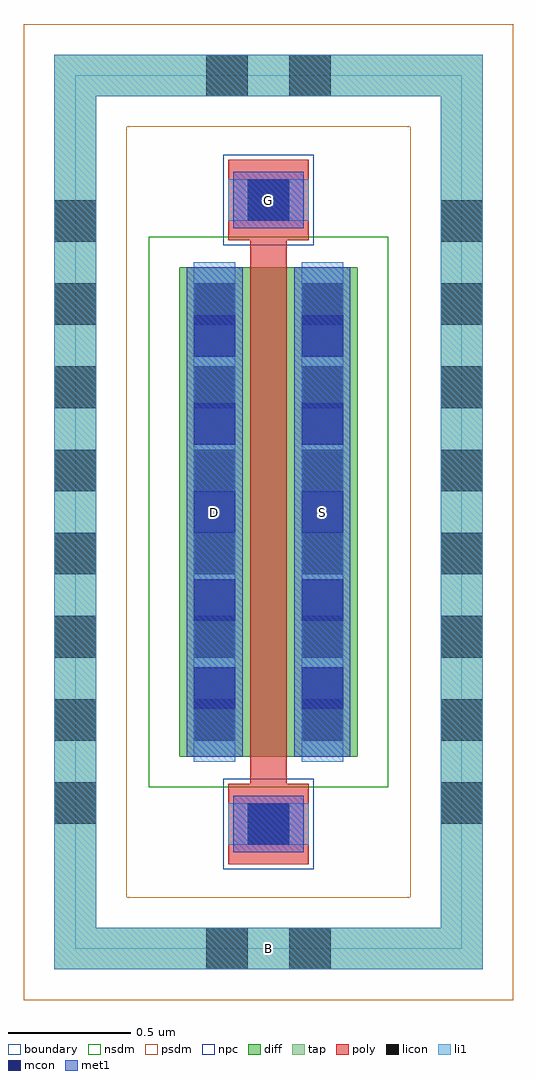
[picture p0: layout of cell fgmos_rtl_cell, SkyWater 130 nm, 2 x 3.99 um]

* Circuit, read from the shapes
.subckt fgmos_rtl_cell B D G S
XM1 S G D B sky130_fd_pr__nfet_01v8 w=2 l=0.15
.ends

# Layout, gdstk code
import gdstk
lib = gdstk.Library(unit=1e-6, precision=1e-09)
def R(c, l, rs):  # rectangles x0, y0, x1, y1
    for r in rs: c.add(gdstk.rectangle(r[:2], r[2:], *l))
def A(c, l, x, y, w, h, nx, ny, dx, dy):  # array of equal rectangles
    R(c, l, [(x+i*dx, y+j*dy, x+i*dx+w, y+j*dy+h) for i in range(nx) for j in range(ny)])
diff = (65, 20)
tap = (65, 44)
poly = (66, 20)
licon = (66, 44)
li1 = (67, 20)
mcon = (67, 44)
met1 = (68, 20)
nsdm = (93, 44)
psdm = (94, 20)
npc = (95, 20)
boundary = (235, 4)

fgmos_rtl_cell = lib.new_cell('fgmos_rtl_cell')
R(fgmos_rtl_cell, diff, [(-0.365,-1,0.365,1)])
R(fgmos_rtl_cell, tap, [(-0.875,-1.87,0.875,-1.7), (-0.875,-1.7,-0.705,1.7), (0.705,-1.7,0.875,1.7), (-0.875,1.7,0.875,1.87)])
R(fgmos_rtl_cell, poly, [(-0.165,-1.44,0.165,-1.11), (-0.075,-1.11,0.075,1.11), (-0.165,1.11,0.165,1.44)])
A(fgmos_rtl_cell, licon, -0.875, -1.275, 0.17, 0.17, 1, 8, 0, 0.34)
A(fgmos_rtl_cell, licon, 0.705, -1.275, 0.17, 0.17, 1, 8, 0, 0.34)
A(fgmos_rtl_cell, licon, -0.305, -0.935, 0.17, 0.17, 1, 6, 0, 0.34)
A(fgmos_rtl_cell, licon, 0.135, -0.935, 0.17, 0.17, 1, 6, 0, 0.34)
R(fgmos_rtl_cell, licon, [(-0.255,-1.87,-0.085,-1.7), (0.085,-1.87,0.255,-1.7), (-0.085,-1.36,0.085,-1.19), (-0.085,1.19,0.085,1.36), (-0.255,1.7,-0.085,1.87), (0.085,1.7,0.255,1.87)])
R(fgmos_rtl_cell, li1, [(-0.875,-1.87,0.875,-1.7), (-0.875,-1.7,-0.705,1.7), (0.705,-1.7,0.875,1.7), (-0.165,-1.36,0.165,-1.19), (-0.305,-1.02,-0.135,1.02), (0.135,-1.02,0.305,1.02), (-0.165,1.19,0.165,1.36), (-0.875,1.7,0.875,1.87)])
A(fgmos_rtl_cell, mcon, -0.305, -0.805, 0.17, 0.17, 1, 5, 0, 0.36)
A(fgmos_rtl_cell, mcon, 0.135, -0.805, 0.17, 0.17, 1, 5, 0, 0.36)
R(fgmos_rtl_cell, mcon, [(-0.085,-1.36,0.085,-1.19), (-0.085,1.19,0.085,1.36)])
R(fgmos_rtl_cell, met1, [(-0.145,-1.39,0.145,-1.16), (-0.335,-1,-0.105,1), (0.105,-1,0.335,1), (-0.145,1.16,0.145,1.39)])
R(fgmos_rtl_cell, nsdm, [(-0.49,-1.125,0.49,1.125)])
R(fgmos_rtl_cell, psdm, [(-1,-1.995,1,-1.575), (-1,-1.575,-0.58,1.575), (0.58,-1.575,1,1.575), (-1,1.575,1,1.995)])
R(fgmos_rtl_cell, npc, [(-0.185,-1.46,0.185,-1.09), (-0.185,1.09,0.185,1.46)])
R(fgmos_rtl_cell, boundary, [(-0.79,-1.785,0.79,1.785)])
fgmos_rtl_cell.add(gdstk.Label('B', (0,-1.785), layer=67, texttype=5))
fgmos_rtl_cell.add(gdstk.Label('D', (-0.22,0), layer=67, texttype=5))
fgmos_rtl_cell.add(gdstk.Label('S', (0.22,0), layer=67, texttype=5))
fgmos_rtl_cell.add(gdstk.Label('G', (0,1.275), layer=67, texttype=5))

lib.write_gds('fgmos_rtl_cell.gds')
